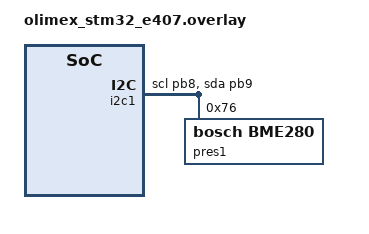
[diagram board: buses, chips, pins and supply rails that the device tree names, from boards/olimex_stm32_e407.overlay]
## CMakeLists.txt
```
cmake_minimum_required(VERSION 3.20.0)
find_package(Zephyr)

project(selog)
include_directories(inc)
target_sources(app PRIVATE 
                    src/main.c
                    src/sensor.c
                    src/user_shell.c)
```

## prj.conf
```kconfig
# Enable the Zephyr log module
CONFIG_LOG=y

# Enable thread names
CONFIG_THREAD_NAME=y

# Enable Zephyr Shell
CONFIG_LOG_BACKEND_UART=n
CONFIG_SHELL=y

# Enable the random generator
CONFIG_TEST_RANDOM_GENERATOR=y

# Enable log filter via shell
CONFIG_LOG_CMDS=y

# Enable i2c
CONFIG_I2C_SHELL=y
CONFIG_SENSOR=y
CONFIG_SENSOR_SHELL=y

# Save generated files generated with presteps
CONFIG_COMPILER_SAVE_TEMPS=y
```

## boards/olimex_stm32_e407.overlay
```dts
&i2c1 {
    pinctrl-0 = < &i2c1_scl_pb8 &i2c1_sda_pb9 >;
    pinctrl-names = "default";
    status = "okay";

    pres1: bme280@76 {
        compatible = "bosch,bme280";
        reg = <0x76>;
    };
};
```

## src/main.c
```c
/*
 *    (C) 2024 by mwhitecliff
 *    Zephyr Workshop
 * 
 *    SPDX-License-Identifier: Apache-2.0
 */

#include "version.h"
#include "sensor.h"

#include <zephyr/kernel.h>

#include <zephyr/logging/log.h>
LOG_MODULE_REGISTER(selog, LOG_LEVEL_INF);


int main (void)
{

    sensor_create();

    return 0;
}
```

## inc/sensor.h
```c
/*
 *    (C) 2024 by mwhitecliff
 *    Zephyr Workshop
 * 
 *    SPDX-License-Identifier: Apache-2.0
 */
#ifndef SENSOR_H
#define SENSOR_H

void sensor_create(void);
void sensor_thread(void *data, void *d1, void *d2);
void sensor_suspend(void);
void sensor_resume(void);

#endif /*SENSOR_H */
```

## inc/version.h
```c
/*
 *    (C) 2024 by mwhitecliff
 *    Zephyr Workshop
 * 
 *    SPDX-License-Identifier: Apache-2.0
 */
#ifndef VERSION_H
#define VERSION_H

#define VERSION_MAJOR 1
#define VERSION_MINOR 0
#define VERSION_FIX 0

#endif /*VERSION_H */
```

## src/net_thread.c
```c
/* net_thread.c: network thread
 *
 * Copyright (c) 2022, 2023 Andreas Klinger
 *
 * SPDX-License-Identifier: Apache-2.0
 */

#include <errno.h>
#include <stdio.h>
#include <zephyr/kernel.h>
#include <zephyr/net/socket.h>

#include <zephyr/logging/log.h>
LOG_MODULE_REGISTER(net_thread, LOG_LEVEL_INF);


#define RECV_BUF_SIZE 128
#define PEER_PORT	2000

extern int net_running;

int sock_fd = -1;

K_SEM_DEFINE(run_app, 0, 1);

static ssize_t sendall(int sock, const void *buf, size_t len)
{
	while (len) {
		ssize_t out_len = send(sock, buf, len, 0);
		if (out_len < 0)
			return out_len;
		buf = (const char *)buf + out_len;
		len -= out_len;
	}

	return 0;
}

static int start_tcp(void)
{
	int ret;
	struct sockaddr_in addr4;

	addr4.sin_family = AF_INET;
	addr4.sin_port = htons(PEER_PORT);
	inet_pton(AF_INET, CONFIG_NET_CONFIG_PEER_IPV4_ADDR, &addr4.sin_addr);

	sock_fd = socket(addr4.sin_family, SOCK_STREAM, IPPROTO_TCP);
	if (sock_fd < 0) {
		LOG_ERR("Failed to create TCP socket: %d", errno);
		return -errno;
	}

	ret = connect(sock_fd, (struct sockaddr *)&addr4, sizeof(addr4));
	if (ret < 0) {
		LOG_ERR("Cannot connect to TCP remote: %d", errno);
		ret = -errno;
	}

	return ret;
}

static void stop_tcp(void)
{
	if (sock_fd >= 0)
		close(sock_fd);
	sock_fd = -1;
}

static int process_tcp(void)
{
	int ret, retry = 1;
	char buf[RECV_BUF_SIZE];

	do {
		strcpy(buf, "SERVUS\n");
		ret =  sendall(sock_fd, buf, strlen(buf));
		if (ret < 0) {
			LOG_ERR("TCP: Failed to send data, errno %d", errno);
			stop_tcp();
			start_tcp();
		} else
			LOG_DBG("TCP: Sent %d bytes", strlen(buf));

	} while (retry-- > 0);

	return ret;
}

void net_thread_entry(void *data, void *d1, void *d2)
{
	int ret = 0;

	LOG_INF("Servus from the net thread");

	if (!IS_ENABLED(CONFIG_NET_IPV4)) {
		LOG_ERR("IPV4 not enabled");
		net_running = 0;
		return;
	}

	start_tcp();

	while (net_running) {
		ret = process_tcp();
	}

	stop_tcp();

	LOG_INF("Bye-bye from the net thread with %d", ret);
}
```

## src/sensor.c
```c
/*
 *    (C) 2024 by mwhitecliff
 *    Zephyr Workshop
 * 
 *    SPDX-License-Identifier: Apache-2.0
 */

#include "sensor.h"

#include <zephyr/kernel.h>

#include <zephyr/logging/log.h>
LOG_MODULE_REGISTER(sensor, LOG_LEVEL_DBG);

#include <zephyr/device.h>
#include <zephyr/drivers/sensor.h>

#define SENSOR_STACK_SIZE 500
#define SENSOR_PRIORITY -5

K_KERNEL_STACK_DEFINE(sensor_stack_area, SENSOR_STACK_SIZE);

// local variable
static struct k_thread sensor_thread_ctl;
static k_tid_t sensor_tid;

void sensor_create(void)
{
    sensor_tid = k_thread_create(&sensor_thread_ctl, sensor_stack_area,
                                 K_KERNEL_STACK_SIZEOF(sensor_stack_area),
                                 sensor_thread,
                                 NULL, NULL, NULL,
                                 SENSOR_PRIORITY, 0, K_NO_WAIT);

    if (sensor_tid != &sensor_thread_ctl)
    {
        LOG_ERR("Error while creating thread: %d", (int)sensor_tid);
    }
    else
    {
        k_thread_name_set(sensor_tid, "sensor");
    }
}

void sensor_thread(void *data, void *d1, void *d2)
{
    const struct device *bme = DEVICE_DT_GET(DT_NODELABEL(pres1));
    struct sensor_value temp, pres, humi;

    LOG_INF("sensor_thread start");

    while (1)
    {
        k_sleep(K_SECONDS(2));
        sensor_sample_fetch(bme);
        
        sensor_channel_get(bme, SENSOR_CHAN_AMBIENT_TEMP, &temp);
        sensor_channel_get(bme, SENSOR_CHAN_PRESS, &pres);
        sensor_channel_get(bme, SENSOR_CHAN_HUMIDITY, &humi);
        
        LOG_DBG("%d.%02d °C", temp.val1, temp.val2/10000);
        LOG_DBG("%d.%02d %%", humi.val1, humi.val2/10000);
        LOG_DBG("%d.%02d kPa", pres.val1, pres.val2/10000);
    }
    
    LOG_INF("sensor_thread terminate");
}

void sensor_suspend(void)
{
    k_thread_suspend(sensor_tid);
    LOG_INF("sensor task suspended");
}

void sensor_resume(void)
{
    k_thread_resume(sensor_tid);
    LOG_INF("sensor task resume");
}
```

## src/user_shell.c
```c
/*
 *    (C) 2024 by mwhitecliff
 *    Zephyr Workshop
 * 
 *    SPDX-License-Identifier: Apache-2.0
 */

#include "version.h"
#include "sensor.h"

#include <zephyr/kernel.h>
#include <zephyr/shell/shell.h>
#include <zephyr/random/random.h>
#include <zephyr/logging/log.h>
LOG_MODULE_REGISTER(user_shell, LOG_LEVEL_INF);

static int cmd_print_version(const struct shell *shell, size_t argc, char **argv)
{
    shell_print(shell, "Version: %d.%02d.%02d", VERSION_MAJOR, VERSION_MINOR, VERSION_FIX);

    return 0;
}

static int cmd_print_random(const struct shell *shell, size_t argc, char **argv)
{
    uint32_t rnd = sys_rand32_get();
    shell_print(shell, "Number: %d", rnd);

    return 0;
}

SHELL_STATIC_SUBCMD_SET_CREATE(sub_print,
                               SHELL_CMD(version, NULL, "print version", cmd_print_version),
                               SHELL_CMD(random, NULL, "print random value", cmd_print_random),
                               SHELL_SUBCMD_SET_END);

SHELL_CMD_REGISTER(print, &sub_print, "Print System information", NULL);


static int cmd_selog_suspend(const struct shell *shell, size_t argc, char **argv)
{
    sensor_suspend();
    return 0;
}

static int cmd_selog_resume(const struct shell *shell, size_t argc, char **argv)
{
    sensor_resume();
    return 0;
}

SHELL_STATIC_SUBCMD_SET_CREATE(sub_selog,
                               SHELL_CMD(suspend, NULL, "suspend read thread", cmd_selog_suspend),
                               SHELL_CMD(resume, NULL, "resume read thread", cmd_selog_resume),
                               SHELL_SUBCMD_SET_END);

SHELL_CMD_REGISTER(selog, &sub_selog, "Control selog system", NULL);
```
